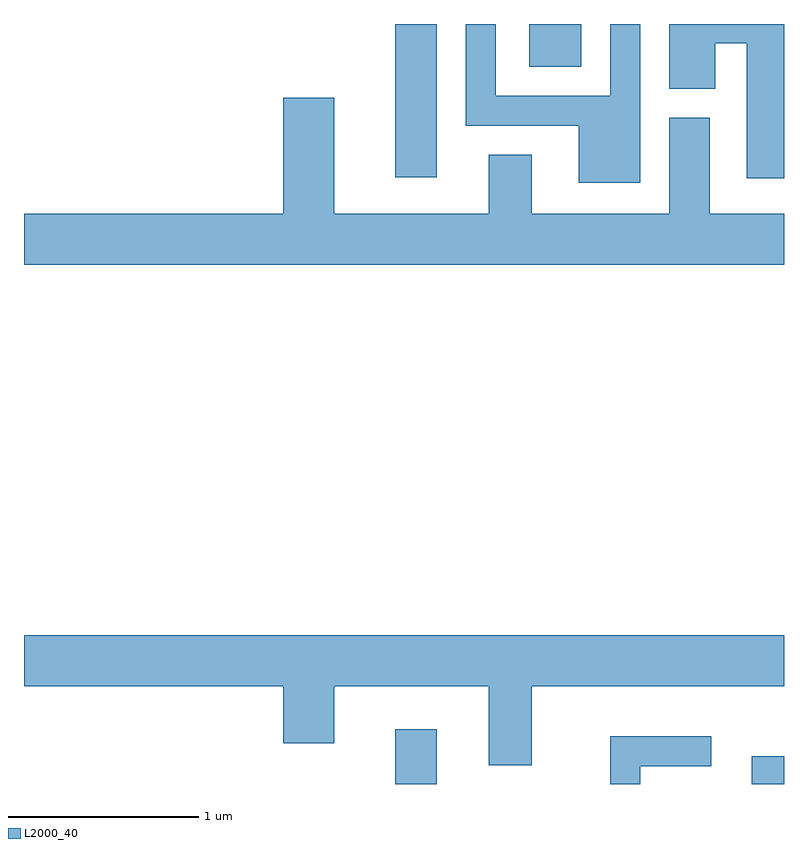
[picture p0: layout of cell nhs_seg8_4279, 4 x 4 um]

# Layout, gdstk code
import gdstk
lib = gdstk.Library(unit=1e-6, precision=1e-09)
def R(c, l, rs):  # rectangles x0, y0, x1, y1
    for r in rs: c.add(gdstk.rectangle(r[:2], r[2:], *l))
def P(c, l, *ps):  # polygons
    for p in ps: c.add(gdstk.Polygon(p, *l))
L2000_40 = (2000, 40)

nhs_seg8_4279 = lib.new_cell('nhs_seg8_4279')
R(nhs_seg8_4279, L2000_40, [(315.566,1840.342,315.784,1840.629), (317.441,1840.342,317.611,1840.489), (315.566,1843.536,315.784,1844.342), (316.271,1844.116,316.544,1844.342)])
P(nhs_seg8_4279, L2000_40, [(316.854,1844.342),(316.696,1844.342),(316.696,1843.964),(316.094,1843.964),(316.094,1844.342),(315.936,1844.342),(315.936,1843.806),(316.531,1843.806),(316.531,1843.506),(316.854,1843.506)],
  [(317.611,1844.342),(317.006,1844.342),(317.006,1844.001),(317.249,1844.001),(317.249,1844.241),(317.416,1844.241),(317.416,1843.531),(317.611,1843.531)],
  [(317.611,1843.344),(317.219,1843.344),(317.219,1843.849),(317.006,1843.849),(317.006,1843.344),(316.284,1843.344),(316.284,1843.654),(316.056,1843.654),(316.056,1843.344),(315.244,1843.344),(315.244,1843.954),(314.976,1843.954),(314.976,1843.344),(313.611,1843.344),(313.611,1843.076),(317.611,1843.076)],
  [(316.284,1840.856),(317.611,1840.856),(317.611,1841.124),(313.611,1841.124),(313.611,1840.856),(314.976,1840.856),(314.976,1840.556),(315.244,1840.556),(315.244,1840.856),(316.056,1840.856),(316.056,1840.441),(316.284,1840.441)],
  [(316.854,1840.436),(317.228,1840.436),(317.228,1840.594),(316.696,1840.594),(316.696,1840.342),(316.854,1840.342)])

lib.write_gds('nhs_seg8_4279.gds')
